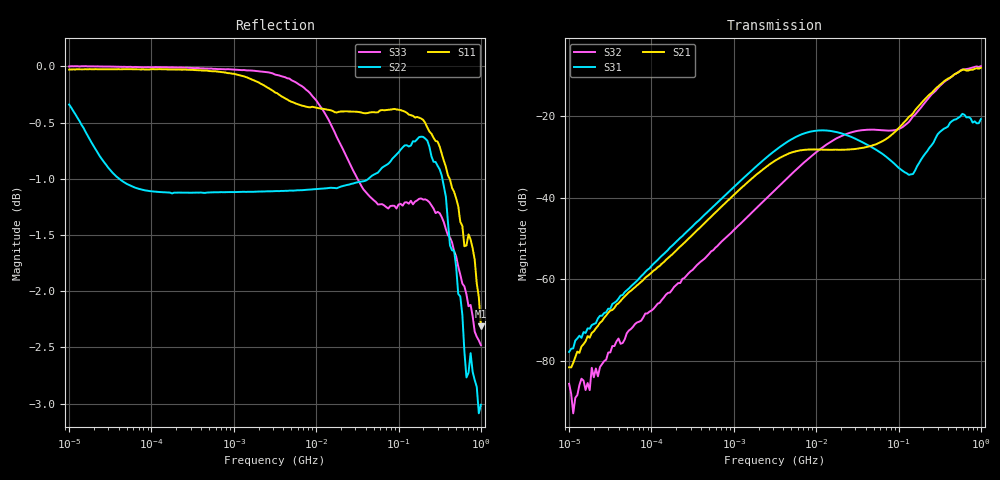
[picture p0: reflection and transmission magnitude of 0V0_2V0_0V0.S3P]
!Keysight Technologies,E5080A,MY55100144,A.11.70.03
!Date: Monday, November 13, 2017 17:24:24
!Correction: S11(Full 3 Port(1,2,3))
!S12(Full 3 Port(1,2,3))
!S13(Full 3 Port(1,2,3))
!S21(Full 3 Port(1,2,3))
!S22(Full 3 Port(1,2,3))
!S23(Full 3 Port(1,2,3))
!S31(Full 3 Port(1,2,3))
!S32(Full 3 Port(1,2,3))
!S33(Full 3 Port(1,2,3))
!S3P File: Measurements: <S11,S12,S13>,
!<S21,S22,S23>,
!<S31,S32,S33>:Log Frequency Sweep
# Hz S  RI  R 50
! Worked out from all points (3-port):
!   201 points, 10 kHz to 1 GHz, reference 50 ohm
!   strongest paths, dB at 10 kHz, 177.8 kHz, 3.162 MHz, 56.23 MHz, 1 GHz:
!     S21: -81.6, -53.9, -30.9, -26.6, -8.1
!     S31: -77.8, -51.8, -28.4, -28.5, -20.7
!     S32: -85.7, -62.6, -38.1, -23.3, -7.7
!   lowest |S11| = -2.3 dB at 1 GHz (marker M1), VSWR 7.56, Z = 378 + j1.62 ohm
!   |S11| at or under -10 dB: nowhere
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10000  0.9967 -0.00344  -3.18e-05 -5.53e-06  -1.56e-05 0.000144
       -2.91e-05 7.8e-05  0.4567 -0.8463  -2.01e-05 1.44e-05
       -4.13e-06 0.000128  -5.21e-05 1.86e-06  0.9999 -0.00239
59566.21  0.9968 -0.0208  -7.81e-05 0.000355  1.93e-05 0.000851
          -1.32e-05 0.00076  -0.7517 -0.4652  -5.71e-05 0.000229
          1.37e-05 0.000864  -7.07e-05 0.000251  0.9991 -0.00654
595662.1  0.9746 -0.2008  0.000253 0.00381  0.00129 0.00816
          0.000974 0.00651  -0.8777 -0.0486  6.19e-05 0.00233
          0.00122 0.00815  0.000109 0.00244  0.9958 -0.0573
3162278  0.5422 -0.8087  0.00764 0.0161  0.0213 0.0306
         0.0179 0.0223  -0.8799 7.18e-05  0.00165 0.012
         0.0206 0.032  0.00179 0.0124  0.9488 -0.2886
7079458  -0.1676 -0.9455  0.0204 0.0205  0.0518 0.0261
         0.0342 0.0184  -0.8808 0.0178  0.00817 0.0249
         0.0536 0.0305  0.00847 0.0257  0.7837 -0.5859
2.113489e7  -0.8397 -0.4547  0.0327 0.0191  0.0557 -0.012
            0.0358 0.0154  -0.8821 0.0666  0.0405 0.04
            0.0599 -0.0122  0.042 0.0407  -0.00793 -0.9186
1.188502e8  -0.9218 0.2487  0.0515 0.0701  0.0205 -0.00339
            0.0509 0.0693  -0.8132 0.4349  0.0591 0.0517
            0.0201 -0.00478  0.0588 0.0504  -0.8683 -0.0524
3.758374e8  -0.3806 0.8179  0.2774 0.037  0.072 -0.00944
            0.2776 0.0372  0.0753 0.8717  0.2701 0.0539
            0.0719 -0.00922  0.2698 0.0541  -0.5003 0.6827
7.079458e8  0.4593 0.7056  0.2023 -0.3058  0.0103 -0.0977
            0.202 -0.3058  0.6942 0.228  0.2421 -0.2989
            0.0098 -0.0975  0.2427 -0.2992  0.256 0.7391
1e9  0.7663 0.000885  -0.0962 -0.3838  -0.0567 -0.0727
     -0.0968 -0.3836  0.5905 -0.3889  -0.0465 -0.4116
     -0.0566 -0.0734  -0.0457 -0.4114  0.6849 0.3094
